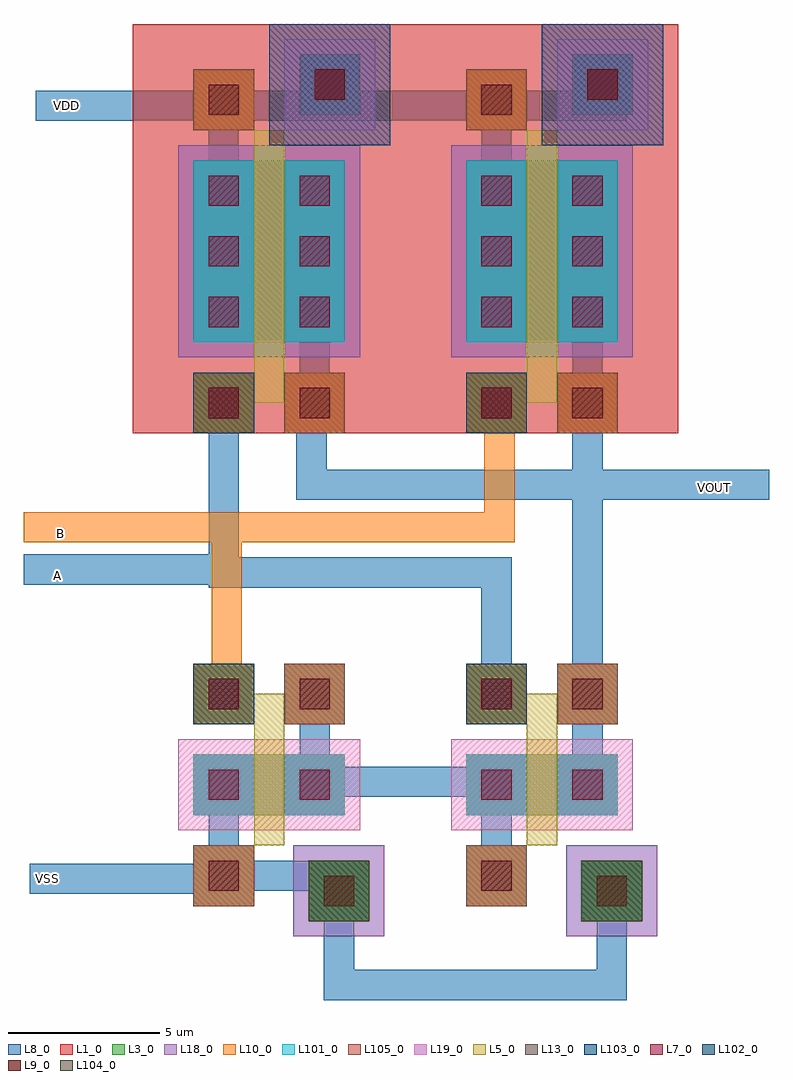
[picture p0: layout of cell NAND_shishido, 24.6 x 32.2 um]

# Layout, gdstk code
import gdstk
lib = gdstk.Library(unit=1e-6, precision=1e-07)
def R(c, l, rs):  # rectangles x0, y0, x1, y1
    for r in rs: c.add(gdstk.rectangle(r[:2], r[2:], *l))
L1_0 = (1, 0)
L3_0 = (3, 0)
L5_0 = (5, 0)
L7_0 = (7, 0)
L8_0 = (8, 0)
L9_0 = (9, 0)
L10_0 = (10, 0)
L13_0 = (13, 0)
L18_0 = (18, 0)
L19_0 = (19, 0)
L101_0 = (101, 0)
L102_0 = (102, 0)
L103_0 = (103, 0)
L104_0 = (104, 0)
L105_0 = (105, 0)

dcont = lib.new_cell('dcont')
R(dcont, L3_0, [(-1,-1,1,1)])
R(dcont, L7_0, [(-0.5,-0.5,0.5,0.5)])
R(dcont, L8_0, [(-1,-1,1,1)])
R(dcont, L13_0, [(-0.5,-0.5,0.5,0.5)])
R(dcont, L101_0, [(-1,-1,1,1)])

pcont = lib.new_cell('pcont')
R(pcont, L5_0, [(-1,-1,1,1)])
R(pcont, L7_0, [(-0.5,-0.5,0.5,0.5)])
R(pcont, L8_0, [(-1,-1,1,1)])
R(pcont, L13_0, [(-0.5,-0.5,0.5,0.5)])
R(pcont, L102_0, [(-1,-1,1,1)])

via = lib.new_cell('Via')
R(via, L8_0, [(-1,-1,1,1)])
R(via, L9_0, [(-0.5,-0.5,0.5,0.5)])
R(via, L10_0, [(-1,-1,1,1)])
R(via, L13_0, [(-0.5,-0.5,0.5,0.5)])
R(via, L105_0, [(-1,-1,1,1)])

dcont1 = lib.new_cell('dcont1')
R(dcont1, L3_0, [(-1,-1,1,1)])
R(dcont1, L7_0, [(-0.5,-0.5,0.5,0.5)])
R(dcont1, L8_0, [(-1,-1,1,1)])
R(dcont1, L13_0, [(-0.5,-0.5,0.5,0.5)])
R(dcont1, L101_0, [(-1,-1,1,1)])

nsubcont = lib.new_cell('nsubcont')
R(nsubcont, L1_0, [(-2,-2,2,2)])
R(nsubcont, L19_0, [(-1.5,-1.5,1.5,1.5)])
R(nsubcont, L103_0, [(-2,-2,2,2)])
nsubcont.add(gdstk.Reference(dcont1, (0,0)))

pch = lib.new_cell('Pch')
R(pch, L1_0, [(-2,0,7,13.5)])
R(pch, L3_0, [(0,3,5,9)])
R(pch, L18_0, [(-0.5,2.5,5.5,9.5)])
pch.add(gdstk.FlexPath([(1,3),(1,9)], 2, ends="flush", simple_path=True, layer=8, datatype=0))  # L8_0
pch.add(gdstk.FlexPath([(4,3),(4,9)], 2, ends="flush", simple_path=True, layer=8, datatype=0))  # L8_0
pch.add(gdstk.FlexPath([(1,8),(1,11)], 1, ends="flush", simple_path=True, layer=8, datatype=0))  # L8_0
pch.add(gdstk.FlexPath([(4,1),(4,4)], 1, ends="flush", simple_path=True, layer=8, datatype=0))  # L8_0
pch.add(gdstk.FlexPath([(2.5,3),(2.5,9)], 1, ends=(1, 1), simple_path=True, layer=5, datatype=0))  # L5_0
pch.add(gdstk.FlexPath([(1,1.5),(2.5,1.5),(2.5,2)], 1, ends="flush", simple_path=True, layer=5, datatype=0))  # L5_0
pch.add(gdstk.Reference(dcont, (1,4)))
pch.add(gdstk.Reference(dcont, (1,6)))
pch.add(gdstk.Reference(dcont, (1,8)))
pch.add(gdstk.Reference(dcont, (4,4)))
pch.add(gdstk.Reference(dcont, (4,6)))
pch.add(gdstk.Reference(dcont, (4,8)))
pch.add(gdstk.Reference(pcont, (1,1)))
pch.add(gdstk.Reference(via, (1,1)))
pch.add(gdstk.Reference(via, (1,11)))
pch.add(gdstk.Reference(via, (4,1)))
pch.add(gdstk.Reference(nsubcont, (4.5,11.5)))
pch.add(gdstk.Reference(via, (4.5,11.5)))

psubcont = lib.new_cell('psubcont')
R(psubcont, L18_0, [(-1.5,-1.5,1.5,1.5)])
R(psubcont, L104_0, [(-1,-1,1,1)])
psubcont.add(gdstk.Reference(dcont1, (0,0)))

nch = lib.new_cell('Nch')
R(nch, L3_0, [(0,3,5,5)])
R(nch, L19_0, [(-0.5,2.5,5.5,5.5)])
nch.add(gdstk.FlexPath([(1,3),(1,5)], 2, ends="flush", simple_path=True, layer=8, datatype=0))  # L8_0
nch.add(gdstk.FlexPath([(4,3),(4,5)], 2, ends="flush", simple_path=True, layer=8, datatype=0))  # L8_0
nch.add(gdstk.FlexPath([(1,1),(1,4)], 1, ends="flush", simple_path=True, layer=8, datatype=0))  # L8_0
nch.add(gdstk.FlexPath([(4,4),(4,7)], 1, ends="flush", simple_path=True, layer=8, datatype=0))  # L8_0
nch.add(gdstk.FlexPath([(2.5,3),(2.5,5)], 1, ends=(1, 1), simple_path=True, layer=5, datatype=0))  # L5_0
nch.add(gdstk.FlexPath([(1,6.5),(2.5,6.5),(2.5,6)], 1, ends="flush", simple_path=True, layer=5, datatype=0))  # L5_0
nch.add(gdstk.Reference(dcont, (1,4)))
nch.add(gdstk.Reference(dcont, (4,4)))
nch.add(gdstk.Reference(pcont, (1,7)))
nch.add(gdstk.Reference(via, (1,7)))
nch.add(gdstk.Reference(via, (1,1)))
nch.add(gdstk.Reference(via, (4,7)))
nch.add(gdstk.Reference(psubcont, (4.8,0.5)))
nch.add(gdstk.Reference(via, (4.8,0.5)))

nand_shishido = lib.new_cell('NAND_shishido')
nand_shishido.add(gdstk.FlexPath([(-32.7,-20),(-27.8,-20)], 1, ends="flush", simple_path=True, layer=8, datatype=0))  # L8_0
nand_shishido.add(gdstk.FlexPath([(-38.4,-20.1),(-31.8,-20.1)], 1, ends="flush", simple_path=True, layer=8, datatype=0))  # L8_0
nand_shishido.add(gdstk.FlexPath([(-29.1,-4.3),(-29.1,-7.1),(-14,-7.1),(-14,-7.1),(-14,-7.1)], 1, ends="flush", simple_path=True, layer=8, datatype=0))  # L8_0
nand_shishido.add(gdstk.FlexPath([(-20,-4.3),(-20,-14.2)], 1, ends="flush", simple_path=True, layer=8, datatype=0))  # L8_0
nand_shishido.add(gdstk.FlexPath([(-28.2,-20.6),(-28.2,-23.6),(-19.2,-23.6),(-19.2,-20.4),(-19.2,-20.4)], 1, ends="flush", simple_path=True, layer=8, datatype=0))  # L8_0
nand_shishido.add(gdstk.FlexPath([(-29.1,-16.9),(-22.7,-16.9)], 1, ends="flush", simple_path=True, layer=8, datatype=0))  # L8_0
nand_shishido.add(gdstk.FlexPath([(-32,-4.4),(-32,-10),(-23,-10),(-23,-14.4)], 1, ends="flush", simple_path=True, layer=8, datatype=0))  # L8_0
nand_shishido.add(gdstk.FlexPath([(-32,-9.9),(-38.6,-9.9)], 1, ends="flush", simple_path=True, layer=8, datatype=0))  # L8_0
nand_shishido.add(gdstk.FlexPath([(-38.2,5.4),(-18.7,5.4)], 1, ends="flush", simple_path=True, layer=8, datatype=0))  # L8_0
nand_shishido.add(gdstk.FlexPath([(-29.2,-4.5),(-29.1,-4.5)], 1, ends="flush", simple_path=True, layer=10, datatype=0))  # L10_0
nand_shishido.add(gdstk.FlexPath([(-23,-8.5),(-38.6,-8.5)], 1, ends="flush", simple_path=True, layer=10, datatype=0))  # L10_0
nand_shishido.add(gdstk.FlexPath([(-31.9,-14.1),(-31.9,-8.5)], 1, ends="flush", simple_path=True, layer=10, datatype=0))  # L10_0
nand_shishido.add(gdstk.FlexPath([(-22.9,-4.5),(-22.9,-9)], 1, ends="flush", simple_path=True, layer=10, datatype=0))  # L10_0
nand_shishido.add(gdstk.Reference(pch, (-24,-5.4)))
nand_shishido.add(gdstk.Reference(pch, (-33,-5.4)))
nand_shishido.add(gdstk.Reference(nch, (-33,-21)))
nand_shishido.add(gdstk.Reference(nch, (-24,-21)))
nand_shishido.add(gdstk.Label('VSS', (-37.8,-20.1), layer=8, texttype=0))
nand_shishido.add(gdstk.Label('VOUT', (-15.8,-7.2), layer=8, texttype=0))
nand_shishido.add(gdstk.Label('VDD', (-37.2,5.4), layer=8, texttype=0))
nand_shishido.add(gdstk.Label('A', (-37.5,-10.1), layer=8, texttype=0))
nand_shishido.add(gdstk.Label('B', (-37.4,-8.7), layer=10, texttype=0))

lib.write_gds('NAND_shishido.gds')
